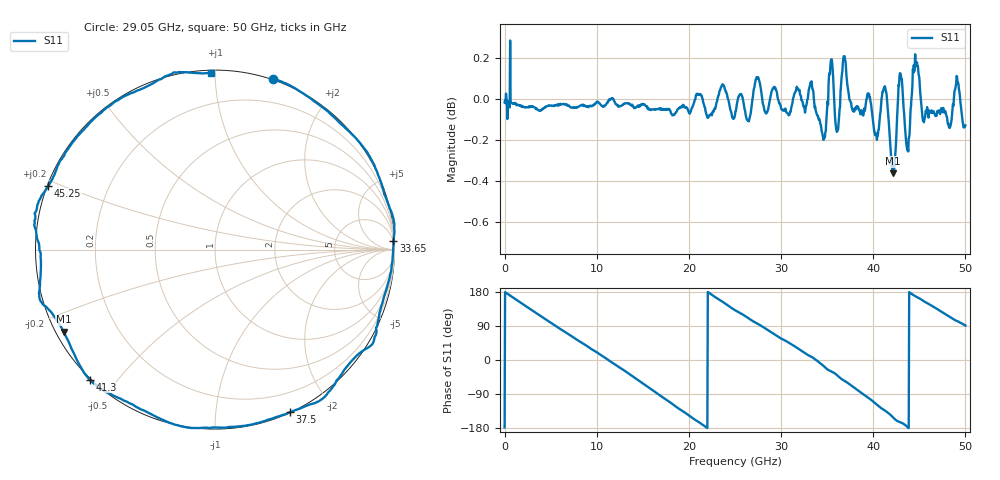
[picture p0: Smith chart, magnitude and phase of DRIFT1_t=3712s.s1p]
!Created with skrf (http://scikit-rf.org).
# Hz S RI R 50.0
!freq ReS11 ImS11
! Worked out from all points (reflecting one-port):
!   1001 points, 300 kHz to 50 GHz, reference 50 ohm
!   lowest |S11| = -0.4 dB at 42.15 GHz (marker M1), VSWR 48.11, Z = 1.11 - j12.7 ohm
!   phase of S11 starts at -178 deg and turns -811 deg over the sweep
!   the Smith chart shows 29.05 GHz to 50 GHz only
!   S11 on the Smith chart (normalised r, x): 29.05 GHz: -0.01, +1.39; 33.65 GHz: 5, +43; 37.5 GHz: 0.00, -1.56; 41.3 GHz: -0.00, -0.42; 45.25 GHz: 0.00, +0.18; 50 GHz: 0.01, +0.98
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300000  -0.9974 -0.0349
1.60029e9  -0.893 0.4423
3.40028e9  -0.5596 0.8219
6.250262e9  0.1956 0.9777
9.550243e9  0.8897 0.4482
1.115023e10  0.9976 0.0289
1.250022e10  0.9362 -0.3398
1.415022e10  0.6763 -0.7296
1.580021e10  0.2563 -0.9602
1.73002e10  -0.1842 -0.9766
1.875019e10  -0.5836 -0.8047
2.050018e10  -0.9039 -0.4211
2.170017e10  -0.9905 -0.0993
2.350016e10  -0.9205 0.4077
2.500015e10  -0.6571 0.7416
2.725014e10  -0.147 1
2.905013e10  0.3205 0.9527
3.125011e10  0.7687 0.6369
3.36501e10  0.994 0.0461
3.555009e10  0.8688 -0.5345
3.750008e10  0.4192 -0.9066
3.945006e10  -0.1593 -0.9904
4.130005e10  -0.6985 -0.7244
4.215005e10  -0.8431 -0.4575
4.375004e10  -0.9719 -0.04
4.525003e10  -0.9288 0.3558
4.770001e10  -0.5395 0.8329
5e10  -0.0201 0.985
